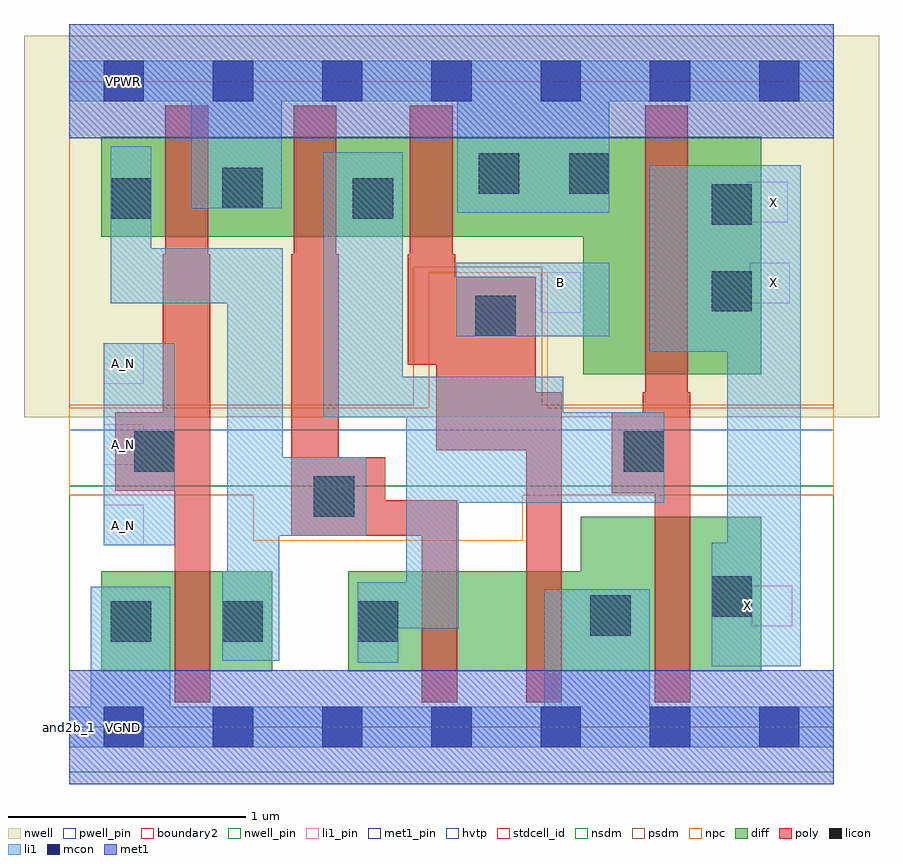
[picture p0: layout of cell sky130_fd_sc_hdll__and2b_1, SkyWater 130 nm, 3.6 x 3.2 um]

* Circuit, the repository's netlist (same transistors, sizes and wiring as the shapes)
* Copyright 2020 The SkyWater PDK Authors
*
* Licensed under the Apache License, Version 2.0 (the "License");
* you may not use this file except in compliance with the License.
* You may obtain a copy of the License at
*
*     https://www.apache.org/licenses/LICENSE-2.0
*
* Unless required by applicable law or agreed to in writing, software
* distributed under the License is distributed on an "AS IS" BASIS,
* WITHOUT WARRANTIES OR CONDITIONS OF ANY KIND, either express or implied.
* See the License for the specific language governing permissions and
* limitations under the License.
*
* SPDX-License-Identifier: Apache-2.0

.SUBCKT sky130_fd_sc_hdll__and2b_1 A_N B VGND VNB VPB VPWR X
*.PININFO A_N:I B:I VGND:I VNB:I VPB:I VPWR:I X:O
MMP0 y A VPWR VPB sky130_fd_pr__pfet_01v8_hvt m=1 w=0.42U l=0.18U mult=1 sa=0.265
+ sb=0.265 sd=0.28 area=0.063 perim=1.14
MMP1 y B VPWR VPB sky130_fd_pr__pfet_01v8_hvt m=1 w=0.42U l=0.18U mult=1 sa=0.265
+ sb=0.265 sd=0.28 area=0.063 perim=1.14
MMIP0 A A_N VPWR VPB sky130_fd_pr__pfet_01v8_hvt m=1 w=0.42U l=0.18U mult=1 sa=0.265
+ sb=0.265 sd=0.28 area=0.063 perim=1.14
MMIP1 X y VPWR VPB sky130_fd_pr__pfet_01v8_hvt m=1 w=1.0U l=0.18U mult=1 sa=0.265
+ sb=0.265 sd=0.28 area=0.063 perim=1.14
MMN0 y A sndA VNB sky130_fd_pr__nfet_01v8 m=1 w=0.42U l=0.15U mult=1 sa=0.265 sb=0.265
+ sd=0.28 area=0.063 perim=1.14
MMN1 sndA B VGND VNB sky130_fd_pr__nfet_01v8 m=1 w=0.42U l=0.15U mult=1 sa=0.265
+ sb=0.265 sd=0.28 area=0.063 perim=1.14
MMIN0 A A_N VGND VNB sky130_fd_pr__nfet_01v8 m=1 w=0.42U l=0.15U mult=1 sa=0.265
+ sb=0.265 sd=0.28 area=0.063 perim=1.14
MMIN1 X y VGND VNB sky130_fd_pr__nfet_01v8 m=1 w=0.65U l=0.15U mult=1 sa=0.265
+ sb=0.265 sd=0.28 area=0.063 perim=1.14
.ENDS sky130_fd_sc_hdll__and2b_1

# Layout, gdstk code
import gdstk
lib = gdstk.Library(unit=1e-6, precision=1e-09)
def R(c, l, rs):  # rectangles x0, y0, x1, y1
    for r in rs: c.add(gdstk.rectangle(r[:2], r[2:], *l))
def A(c, l, x, y, w, h, nx, ny, dx, dy):  # array of equal rectangles
    R(c, l, [(x+i*dx, y+j*dy, x+i*dx+w, y+j*dy+h) for i in range(nx) for j in range(ny)])
def P(c, l, *ps):  # polygons
    for p in ps: c.add(gdstk.Polygon(p, *l))
nwell_pin = (64, 16)
nwell = (64, 20)
diff = (65, 20)
poly = (66, 20)
licon = (66, 44)
li1_pin = (67, 16)
li1 = (67, 20)
mcon = (67, 44)
met1_pin = (68, 16)
met1 = (68, 20)
hvtp = (78, 44)
stdcell_id = (81, 4)
nsdm = (93, 44)
psdm = (94, 20)
npc = (95, 20)
pwell_pin = (122, 16)
boundary2 = (236, 0)

sky130_fd_sc_hdll__and2b = lib.new_cell('sky130_fd_sc_hdll__and2b_1')
R(sky130_fd_sc_hdll__and2b, nwell_pin, [(0.145,2.635,0.315,2.805)])
R(sky130_fd_sc_hdll__and2b, nwell, [(-0.19,1.305,3.41,2.91)])
R(sky130_fd_sc_hdll__and2b, diff, [(0.135,0.235,0.855,0.655)])
P(sky130_fd_sc_hdll__and2b, diff, [(2.915,0.885),(2.155,0.885),(2.155,0.655),(1.175,0.655),(1.175,0.235),(2.915,0.235)],
  [(2.915,2.485),(0.135,2.485),(0.135,2.065),(2.165,2.065),(2.165,1.485),(2.915,1.485)])
P(sky130_fd_sc_hdll__and2b, poly, [(0.595,1.99),(0.585,1.99),(0.585,2.615),(0.405,2.615),(0.405,1.99),(0.395,1.99),(0.395,1.325),(0.195,1.325),(0.195,0.995),(0.445,0.995),(0.445,0.105),(0.595,0.105)],
  [(1.635,0.955),(1.33,0.955),(1.33,1.135),(1.135,1.135),(1.135,1.99),(1.125,1.99),(1.125,2.615),(0.945,2.615),(0.945,1.99),(0.935,1.99),(0.935,0.805),(1.485,0.805),(1.485,0.105),(1.635,0.105)],
  [(2.075,1.41),(1.965,1.41),(1.965,1.895),(1.625,1.895),(1.625,1.99),(1.615,1.99),(1.615,2.615),(1.435,2.615),(1.435,1.99),(1.425,1.99),(1.425,1.525),(1.545,1.525),(1.545,1.165),(1.925,1.165),(1.925,0.105),(2.075,0.105)],
  [(2.615,1.41),(2.605,1.41),(2.605,2.615),(2.425,2.615),(2.425,1.41),(2.415,1.41),(2.415,1.325),(2.285,1.325),(2.285,0.985),(2.465,0.985),(2.465,0.105),(2.615,0.105)])
R(sky130_fd_sc_hdll__and2b, licon, [(0.175,0.36,0.345,0.53), (0.645,0.36,0.815,0.53), (1.215,0.36,1.385,0.53), (2.195,0.385,2.365,0.555), (2.705,0.465,2.875,0.635), (1.03,0.885,1.2,1.055), (0.275,1.075,0.445,1.245), (2.335,1.075,2.505,1.245), (1.71,1.645,1.88,1.815), (2.705,1.75,2.875,1.92), (2.705,2.115,2.875,2.285), (0.175,2.14,0.345,2.31), (1.195,2.14,1.365,2.31), (0.645,2.185,0.815,2.355), (1.725,2.245,1.895,2.415), (2.105,2.245,2.275,2.415)])
A(sky130_fd_sc_hdll__and2b, li1_pin, 0.145, 0.765, 0.17, 0.17, 1, 3, 0, 0.34)
R(sky130_fd_sc_hdll__and2b, li1_pin, [(2.875,0.425,3.045,0.595), (1.985,1.745,2.155,1.915), (2.865,1.785,3.035,1.955), (2.855,2.125,3.025,2.295)])
R(sky130_fd_sc_hdll__and2b, li1, [(0.145,0.765,0.445,1.615), (1.63,1.645,2.275,1.955)])
P(sky130_fd_sc_hdll__and2b, li1, [(3.08,2.365),(2.445,2.365),(2.445,1.58),(2.77,1.58),(2.77,0.775),(2.705,0.775),(2.705,0.255),(3.08,0.255)],
  [(3.22,2.805),(0,2.805),(0,2.635),(0.515,2.635),(0.515,2.185),(0.895,2.185),(0.895,2.635),(1.635,2.635),(1.635,2.165),(2.275,2.165),(2.275,2.635),(3.22,2.635)],
  [(2.505,1.325),(2.08,1.325),(2.08,1.475),(1.405,1.475),(1.405,2.42),(1.07,2.42),(1.07,1.305),(1.42,1.305),(1.42,0.61),(1.215,0.61),(1.215,0.27),(1.385,0.27),(1.385,0.415),(1.64,0.415),(1.64,0.945),(2.505,0.945)],
  [(1.25,1.135),(0.9,1.135),(0.9,2.015),(0.345,2.015),(0.345,2.445),(0.175,2.445),(0.175,1.785),(0.665,1.785),(0.665,0.655),(0.645,0.655),(0.645,0.28),(0.885,0.28),(0.885,0.805),(1.25,0.805)],
  [(3.22,0.085),(2.445,0.085),(2.445,0.58),(2,0.58),(2,0.085),(0.425,0.085),(0.425,0.59),(0.09,0.59),(0.09,0.085),(0,0.085),(0,-0.085),(3.22,-0.085)])
A(sky130_fd_sc_hdll__and2b, mcon, 0.145, -0.085, 0.17, 0.17, 7, 2, 0.46, 2.72)
R(sky130_fd_sc_hdll__and2b, met1_pin, [(0.145,-0.085,0.315,0.085), (0.145,2.635,0.315,2.805)])
R(sky130_fd_sc_hdll__and2b, met1, [(0,-0.24,3.22,0.24), (0,2.48,3.22,2.96)])
R(sky130_fd_sc_hdll__and2b, hvtp, [(0,1.25,3.22,2.72)])
R(sky130_fd_sc_hdll__and2b, stdcell_id, [(0,0,3.22,2.72)])
R(sky130_fd_sc_hdll__and2b, nsdm, [(0,-0.19,3.22,1.015)])
P(sky130_fd_sc_hdll__and2b, psdm, [(3.22,2.91),(0,2.91),(0,1.355),(1.45,1.355),(1.45,1.935),(1.99,1.935),(1.99,1.355),(3.22,1.355)])
P(sky130_fd_sc_hdll__and2b, npc, [(3.22,1.345),(2.015,1.345),(2.015,1.915),(1.515,1.915),(1.515,1.345),(0,1.345),(0,0.975),(0.775,0.975),(0.775,0.785),(1.91,0.785),(1.91,0.975),(3.22,0.975)])
R(sky130_fd_sc_hdll__and2b, pwell_pin, [(0.145,-0.085,0.315,0.085)])
R(sky130_fd_sc_hdll__and2b, boundary2, [(0,0,3.22,2.72)])
sky130_fd_sc_hdll__and2b.add(gdstk.Label('X', (2.965,1.87), layer=67, texttype=5))
sky130_fd_sc_hdll__and2b.add(gdstk.Label('A_N', (0.23,1.53), layer=67, texttype=5))
sky130_fd_sc_hdll__and2b.add(gdstk.Label('A_N', (0.23,0.85), layer=67, texttype=5))
sky130_fd_sc_hdll__and2b.add(gdstk.Label('X', (2.855,0.51), layer=67, texttype=5))
sky130_fd_sc_hdll__and2b.add(gdstk.Label('A_N', (0.23,1.19), layer=67, texttype=5))
sky130_fd_sc_hdll__and2b.add(gdstk.Label('B', (2.07,1.87), layer=67, texttype=5))
sky130_fd_sc_hdll__and2b.add(gdstk.Label('X', (2.965,2.21), layer=67, texttype=5))
sky130_fd_sc_hdll__and2b.add(gdstk.Label('VGND', (0.23,0), layer=68, texttype=5))
sky130_fd_sc_hdll__and2b.add(gdstk.Label('VPWR', (0.23,2.72), layer=68, texttype=5))
sky130_fd_sc_hdll__and2b.add(gdstk.Label('VPB', (0.23,2.72), layer=64, texttype=5))
sky130_fd_sc_hdll__and2b.add(gdstk.Label('VNB', (0.23,0), layer=64, texttype=59))
sky130_fd_sc_hdll__and2b.add(gdstk.Label('and2b_1', (0,0), layer=83, texttype=44))

lib.write_gds('sky130_fd_sc_hdll__and2b_1.gds')
